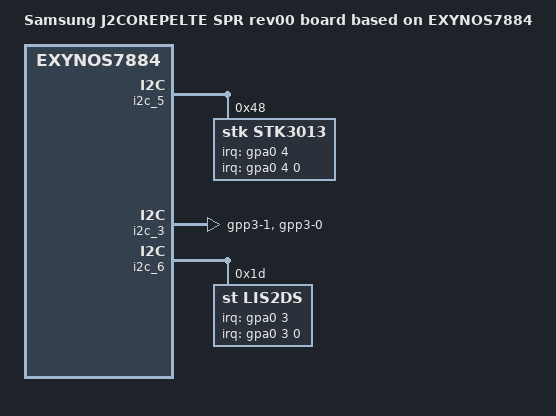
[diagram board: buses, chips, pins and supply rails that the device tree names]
/*
 * SAMSUNG UNIVERSAL7885 board device tree source
 *
 * Copyright (c) 2013 Samsung Electronics Co., Ltd.
 *		http://www.samsung.com
 *
 * This program is free software; you can redistribute it and/or modify
 * it under the terms of the GNU General Public License version 2 as
 * published by the Free Software Foundation.
*/

/dts-v1/;
#include "exynos7884-j2corepelte_common.dtsi"
#include "exynos7884-j2corepelte_usa_spr_gpio_00.dtsi"
#include "battery_data_j2corepelte_usa_00.dtsi"

/ {
	model = "Samsung J2COREPELTE SPR rev00 board based on EXYNOS7884";
	model_info-chip = <7885>;
	model_info-platform = "android";
	model_info-subtype = "samsung";
	model_info-hw_rev = <0>;
	model_info-hw_rev_end = <0>;
	compatible = "samsung, J2COREPELTE SPR rev00", "samsung,Universal7884";

	i2c_5: i2c@13880000 {
		status = "okay";
		#address-cells = <1>;
		#size-cells = <0>;
		samsung,i2c-sda-delay = <100>;
		pinctrl-names = "default";
		pinctrl-0 = <&sensor_en &prox_i2c>;

		stk3013@48 {
			compatible = "stk,stk3013";
			reg = <0x48>;
			interrupt-parent = <&gpa0>;
			interrupts = <4 0 0>;
			pinctrl-names = "default";
			pinctrl-0 = <&prox_int>;
			stk,irq-gpio = <&gpa0 4 0x00>;
			stk,state-reg = <0x2c>;
			stk,psctrl-reg = <0x71>;
			stk,alsctrl-reg = <0x2A>;
			stk,ledctrl-reg = <0xBF>;
			stk,wait-reg = <0x03>;
			stk,ps-thd-h = <15>;
			stk,ps-thd-l = <8>;
			stk,ps-cancel-thd-h = <10>;
			stk,ps-cancel-thd-l = <7>;
			stk,ps-cal-skip-adc = <7>;
			stk,ps-cal-fail-adc = <23>;
			stk,ps-default-offset = <3>;
			stk,transmittance = <500>;
		};
	};

	pinctrl@139B0000 {
		spk_amp_i2c: spk-amp-i2c {
			samsung,pins = "gpp3-1", "gpp3-0";
			samsung,pin-function = <2>;
			samsung,pin-pud = <0>;
			samsung,pin-drv = <0>;
		};
	};

	i2c_3: i2c@13860000 {
		status = "okay";
		samsung,i2c-max-bus-freq = <400000>;
		pinctrl-names = "default";
		pinctrl-0 = <&spk_amp_i2c>;
	};

	sound {
		mixer-paths = "mixer_paths_r00.xml";
		samsung,routing =  "VOUTPUT", "ABOX UAIF0 Playback",
				 "VOUTPUTCALL", "ABOX UAIF2 Playback",
				 "ABOX UAIF2 Capture", "VINPUTCALL",
				 "ABOX SPEEDY Capture", "VINPUTFM";
				 // "SPK", "ABOX UAIF3 Playback"

		uaif@3 {
			codec {
				sound-dai = <&dummy_audio_codec>;
			};
		};
	};

	i2c_6: i2c@13890000 {
		status = "okay";
		#address-cells = <1>;
		#size-cells = <0>;
		samsung,i2c-sda-delay = <100>;
		samsung,i2c-max-bus-freq = <400000>;
		pinctrl-names = "default";
		pinctrl-0 = <&acc_i2c>;

		lis2ds@1D {
			compatible = "st,lis2ds";
			reg = <0x1D>;
			pinctrl-names = "default";
			pinctrl-0 = <&acc_int>;
			interrupt-parent = <&gpa0>;
			interrupts = <3 0 0>;
			st,orientation = <1 0 1 2 1 1 1 1 0>;
			st,irq_gpio = <&gpa0 3 0x00>;
		};
	};

};

